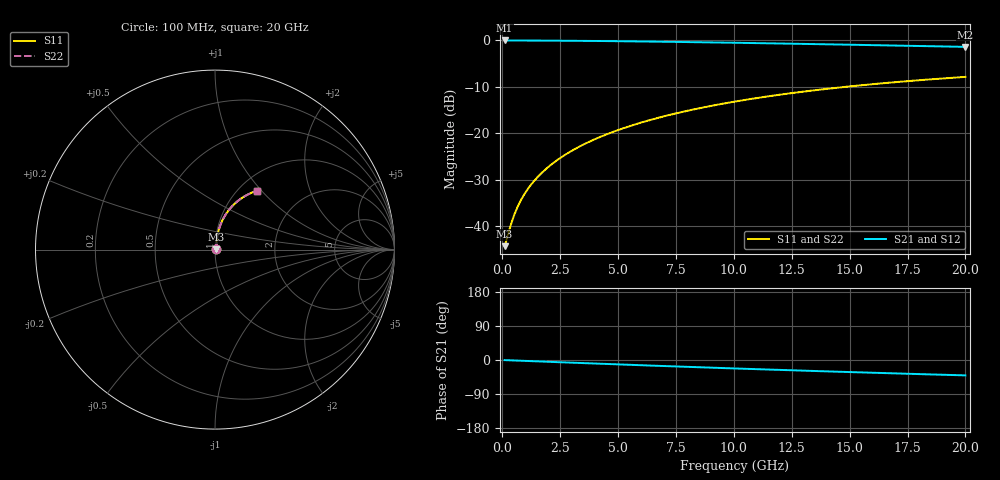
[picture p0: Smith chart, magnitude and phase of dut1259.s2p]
! Touchstone file exported from HFSS 2024.1.0
!  File:  C:/UserFiles/LocalFiles/RDL_TSV_Batchsim/temp_RDL_top_1259_1780241680.aedt
!  Generated:  11:37:07 PM May 31, 2026
!  Design:  RDL_top
!  Project:  temp_RDL_top_1259_1780241680
!  Setup:  Setup1
!  Solution:  Sweep
! Variables:
!  dtsv = 10.80580581um
!  hbump = 3um
!  htsv = 53.13um
!  ldown = 100um
!  lrdl = 562.08um
!  p = 40
!  p1 = 42.61um
!  rhole = 1um
!  t = 450um
!  tdown = 3.915915916um
!  trdl = 2.13um
!  wdown = 15.38538539um
!  wrdl = 17.17um
# GHz S MA R 50.000000
! Terminal data exported
! Port[1] = Box2_T1
! Port[2] = Box2_T2
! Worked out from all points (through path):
!   200 points, 100 MHz to 20 GHz, reference 50 ohm
!   highest |S21| = -0.05 dB at 100 MHz (marker M1); lowest = -1.4 dB at 20 GHz (marker M2)
!   group delay of S21, straight-line fit = 5.63 ps
!   lowest |S11| = -44.2 dB at 100 MHz (marker M3), VSWR 1.01, Z = 50.6 + j0.235 ohm
!   |S11| at or under -10 dB: start of sweep to 14.85 GHz
!   |S22| runs from -44.2 to -7.9 dB; largest |S21 - S12| = 2e-15
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0.1  0.006131 22.3  0.9943 -0.2  0.9943 -0.2  0.006131 22.3
! Gamma 0 0 0 0
! Port Impedance 50 0 50 0
0.4  0.01098 56.4  0.9939 -1.0  0.9939 -1.0  0.01098 56.4
0.5  0.01296 61.1  0.9937 -1.2  0.9937 -1.2  0.01296 61.1
0.6  0.01497 64.4  0.9935 -1.5  0.9935 -1.5  0.01497 64.4
0.7  0.01699 66.9  0.9932 -1.7  0.9932 -1.7  0.01699 66.9
0.9  0.02106 70.5  0.9928 -2.2  0.9928 -2.2  0.02106 70.5
1.2  0.02718 73.8  0.9921 -2.9  0.9921 -2.9  0.02718 73.8
1.4  0.03128 75.3  0.9916 -3.4  0.9916 -3.4  0.03128 75.3
1.7  0.03748 76.9  0.9908 -4.1  0.9908 -4.1  0.03748 76.9
2.2  0.04793 78.5  0.9894 -5.2  0.9894 -5.2  0.04793 78.5
2.8  0.06063 79.5  0.9873 -6.6  0.9873 -6.6  0.06063 79.5
3.5  0.07564 79.8  0.9843 -8.2  0.9843 -8.2  0.07564 79.8
4.2  0.09084 79.7  0.9809 -9.8  0.9809 -9.8  0.09083 79.7
5  0.1084 79.2  0.9765 -11.6  0.9765 -11.6  0.1084 79.2
5.9  0.1283 78.3  0.9709 -13.6  0.9709 -13.6  0.1282 78.2
6.8  0.1482 77.1  0.9647 -15.6  0.9647 -15.6  0.1482 77.1
8.4  0.1835 74.7  0.9527 -19.0  0.9527 -19.0  0.1835 74.7
10.1  0.2204 71.8  0.9388 -22.4  0.9388 -22.4  0.2204 71.8
11.7  0.2541 69.0  0.925 -25.6  0.925 -25.6  0.2541 69.0
13.4  0.2884 65.9  0.9098 -28.9  0.9098 -28.9  0.2883 65.9
16.7  0.3497 60.0  0.8793 -34.9  0.8793 -34.9  0.3497 60.0
20  0.4037 54.3  0.8488 -40.6  0.8488 -40.6  0.4037 54.3
